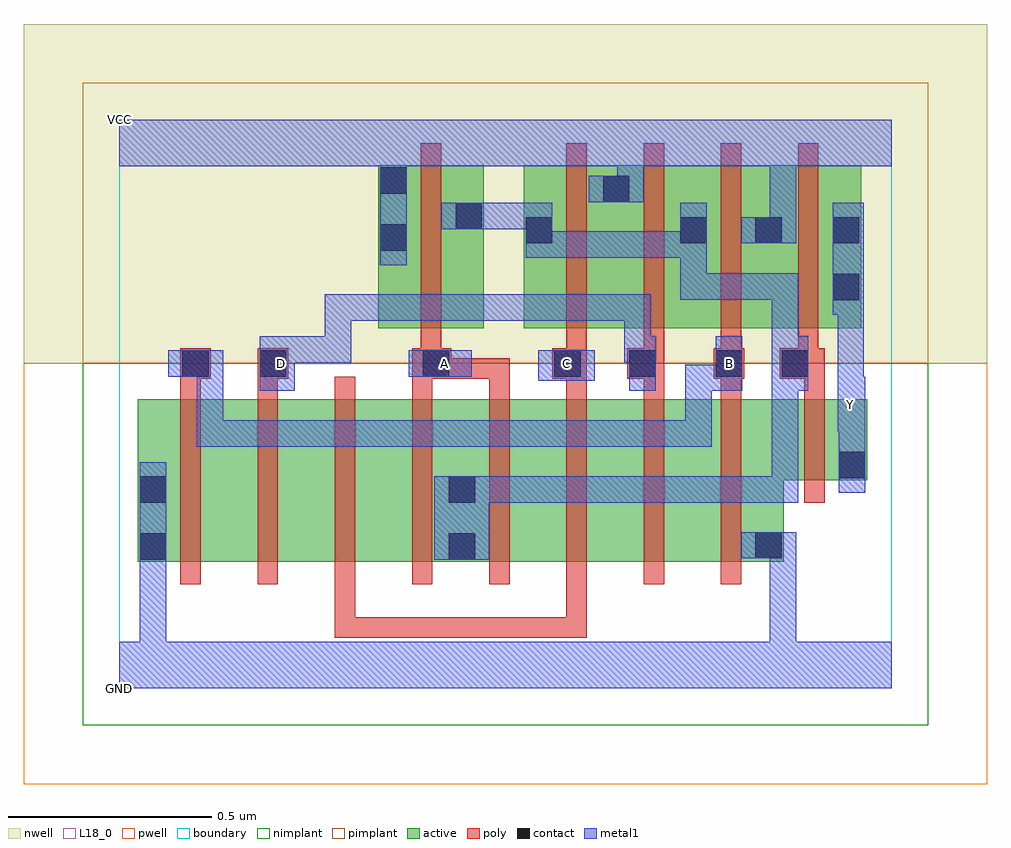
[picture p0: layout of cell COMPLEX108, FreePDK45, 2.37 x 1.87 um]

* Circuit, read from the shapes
.subckt COMPLEX108 A B C D GND VCC Y
M1 n1 B GND VSUBS nfet w=0.4u l=0.05u
M2 n2 D n1 VSUBS nfet w=0.4u l=0.05u
M3 n3 C n2 VSUBS nfet w=0.4u l=0.05u
M4 n4 A n3 VSUBS nfet w=0.4u l=0.05u
M5 n5 A n4 VSUBS nfet w=0.4u l=0.05u
M6 n6 C n5 VSUBS nfet w=0.4u l=0.05u
M7 n7 D n6 VSUBS nfet w=0.4u l=0.05u
M8 GND B n7 VSUBS nfet w=0.4u l=0.05u
M9 Y n4 GND VSUBS nfet w=0.2u l=0.05u
M10 n4 A VCC n8 pfet w=0.4u l=0.05u
M11 VCC C n4 n8 pfet w=0.4u l=0.05u
M12 n4 D VCC n8 pfet w=0.4u l=0.05u
M13 VCC B n4 n8 pfet w=0.4u l=0.05u
M14 Y n4 VCC n8 pfet w=0.4u l=0.05u
.ends

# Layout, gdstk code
import gdstk
lib = gdstk.Library(unit=1e-6, precision=1e-09)
def R(c, l, rs):  # rectangles x0, y0, x1, y1
    for r in rs: c.add(gdstk.rectangle(r[:2], r[2:], *l))
def A(c, l, x, y, w, h, nx, ny, dx, dy):  # array of equal rectangles
    R(c, l, [(x+i*dx, y+j*dy, x+i*dx+w, y+j*dy+h) for i in range(nx) for j in range(ny)])
active = (1, 0)
pwell = (2, 0)
nwell = (3, 0)
nimplant = (4, 0)
pimplant = (5, 0)
poly = (9, 0)
contact = (10, 0)
metal1 = (11, 0)
L18_0 = (18, 0)
boundary = (235, 0)

complex108 = lib.new_cell('COMPLEX108')
R(complex108, active, [(0.045,0.312,0.27,0.712), (0.045,0.312,0.12,0.712), (0.27,0.312,0.46,0.712), (0.46,0.312,0.65,0.712), (0.65,0.312,0.88,0.712), (0.805,0.312,1.03,0.712), (0.805,0.312,0.88,0.617), (1.03,0.312,1.22,0.712), (1.22,0.312,1.41,0.712), (1.41,0.312,1.635,0.712), (1.56,0.315,1.635,0.532), (1.56,0.512,1.84,0.712), (1.765,0.512,1.84,0.712), (0.637,0.887,0.712,1.287), (0.637,0.887,0.897,1.287), (0.822,0.887,0.897,1.2), (0.995,0.887,1.07,1.2), (0.995,0.887,1.26,1.287), (1.185,0.887,1.45,1.287), (1.375,0.887,1.635,1.287), (1.56,0.887,1.825,1.287), (1.75,0.887,1.825,1.2), (1.185,0.907,1.26,1.267), (1.375,0.907,1.45,1.2), (1.56,0.907,1.635,1.255)])
R(complex108, pwell, [(-0.235,-0.235,2.135,0.8)])
R(complex108, nwell, [(-0.235,0.8,2.135,1.635)])
R(complex108, nimplant, [(-0.09,-0.09,1.99,0.8)])
R(complex108, pimplant, [(-0.09,0.8,1.99,1.49)])
A(complex108, poly, 0.15, 0.257, 0.05, 0.51, 8, 1, 0.19, 0)
A(complex108, poly, 0.72, 0.717, 0.05, 0.095, 5, 1, 0.19, 0)
A(complex108, poly, 1.1, 0.787, 0.05, 0.095, 4, 1, 0.19, 0)
A(complex108, poly, 1.1, 0.832, 0.05, 0.51, 4, 1, 0.19, 0)
R(complex108, poly, [(0.53,0.125,0.58,0.307), (0.53,0.125,0.58,0.175), (0.53,0.125,0.58,0.175), (0.53,0.125,0.58,0.175), (0.53,0.125,0.817,0.175), (0.767,0.125,0.817,0.175), (0.767,0.125,0.817,0.175), (0.767,0.125,0.817,0.175), (0.767,0.125,0.95,0.175), (0.9,0.125,0.95,0.175), (0.9,0.125,1.15,0.175), (1.1,0.125,1.15,0.307), (1.1,0.125,1.15,0.175), (1.1,0.125,1.15,0.175), (1.1,0.125,1.15,0.175), (1.685,0.457,1.735,0.767), (0.15,0.717,0.2,0.812), (0.34,0.717,0.39,0.812), (1.685,0.717,1.735,0.812), (0.15,0.762,0.225,0.837), (0.34,0.762,0.415,0.837), (0.72,0.762,0.817,0.837), (0.767,0.762,0.96,0.812), (0.91,0.762,0.96,0.812), (0.91,0.762,0.96,0.812), (0.91,0.762,0.96,0.812), (1.065,0.762,1.15,0.837), (1.25,0.762,1.34,0.837), (1.462,0.762,1.537,0.837), (1.625,0.762,1.735,0.837), (0.742,0.787,0.792,0.882), (0.742,0.832,0.792,1.342)])
R(complex108, contact, [(0.05,0.317,0.115,0.382), (0.81,0.317,0.875,0.382), (1.565,0.32,1.63,0.385), (0.05,0.457,0.115,0.522), (0.81,0.457,0.875,0.522), (1.77,0.517,1.835,0.582), (0.155,0.767,0.22,0.832), (0.345,0.767,0.41,0.832), (0.747,0.767,0.812,0.832), (1.07,0.767,1.135,0.832), (1.255,0.767,1.32,0.832), (1.467,0.767,1.532,0.832), (1.63,0.767,1.695,0.832), (1.755,0.955,1.82,1.02), (0.642,1.077,0.707,1.142), (1,1.095,1.065,1.16), (1.38,1.095,1.445,1.16), (1.565,1.095,1.63,1.16), (1.755,1.095,1.82,1.16), (0.827,1.13,0.892,1.195), (1.19,1.197,1.255,1.262), (0.642,1.217,0.707,1.282)])
R(complex108, metal1, [(0,0,1.9,0.115), (0.05,0.05,0.115,0.115), (0.05,0.05,0.115,0.115), (0.05,0.05,0.115,0.115), (0.05,0.05,0.115,0.115), (0.05,0.05,0.115,0.347), (1.6,0.05,1.665,0.115), (1.6,0.05,1.665,0.115), (1.6,0.05,1.665,0.115), (1.6,0.05,1.665,0.115), (1.6,0.05,1.665,0.385), (0.05,0.282,0.115,0.557), (0.775,0.317,0.91,0.522), (1.53,0.32,1.665,0.385), (0.845,0.457,0.91,0.522), (0.845,0.457,0.91,0.522), (0.845,0.457,1.082,0.522), (1.017,0.457,1.082,0.522), (1.017,0.457,1.082,0.522), (1.017,0.457,1.082,0.522), (1.017,0.457,1.307,0.522), (1.242,0.457,1.307,0.522), (1.242,0.457,1.307,0.522), (1.242,0.457,1.307,0.522), (1.242,0.457,1.457,0.522), (1.392,0.457,1.457,0.522), (1.392,0.457,1.557,0.522), (1.492,0.457,1.557,0.522), (1.492,0.457,1.67,0.522), (1.605,0.457,1.67,0.522), (1.605,0.457,1.67,0.522), (1.605,0.457,1.67,0.522), (1.605,0.457,1.67,0.797), (1.77,0.482,1.835,0.617), (1.77,0.552,1.835,0.697), (0.19,0.595,0.255,0.66), (0.19,0.595,0.432,0.66), (0.19,0.595,0.255,0.832), (0.367,0.595,0.432,0.66), (0.367,0.595,0.432,0.66), (0.367,0.595,0.432,0.66), (0.367,0.595,0.57,0.66), (0.505,0.595,0.57,0.66), (0.505,0.595,0.57,0.66), (0.505,0.595,0.57,0.66), (0.505,0.595,0.707,0.66), (0.642,0.595,0.707,0.66), (0.642,0.595,0.845,0.66), (0.78,0.595,0.845,0.66), (0.78,0.595,0.845,0.66), (0.78,0.595,0.845,0.66), (0.78,0.595,1.082,0.66), (1.017,0.595,1.082,0.66), (1.017,0.595,1.082,0.66), (1.017,0.595,1.082,0.66), (1.017,0.595,1.307,0.66), (1.242,0.595,1.307,0.66), (1.242,0.595,1.307,0.66), (1.242,0.595,1.307,0.66), (1.242,0.595,1.457,0.66), (1.392,0.595,1.457,0.66), (1.392,0.595,1.457,0.797), (1.767,0.632,1.835,0.767), (1.767,0.702,1.832,0.985), (0.345,0.732,0.432,0.867), (1.255,0.732,1.32,0.867), (1.392,0.732,1.457,0.797), (1.392,0.732,1.532,0.797), (1.467,0.732,1.532,0.867), (1.605,0.732,1.695,0.797), (1.605,0.732,1.67,1.022), (1.605,0.732,1.67,0.797), (1.63,0.732,1.695,0.867), (1.03,0.757,1.17,0.832), (0.12,0.767,0.255,0.832), (0.19,0.767,0.255,0.832), (0.19,0.767,0.255,0.832), (0.712,0.767,0.867,0.832), (0.367,0.802,0.432,0.867), (0.367,0.802,0.432,0.867), (0.367,0.802,0.57,0.867), (0.505,0.802,0.57,0.867), (0.505,0.802,0.57,0.867), (0.505,0.802,0.57,0.867), (0.505,0.802,0.57,0.97), (1.242,0.802,1.307,0.867), (1.242,0.802,1.307,0.97), (1.242,0.802,1.32,0.867), (0.505,0.905,0.57,0.97), (0.505,0.905,0.707,0.97), (0.642,0.905,0.707,0.97), (0.642,0.905,0.707,0.97), (0.642,0.905,0.707,0.97), (0.642,0.905,0.927,0.97), (0.862,0.905,0.927,0.97), (0.862,0.905,1.082,0.97), (1.017,0.905,1.082,0.97), (1.017,0.905,1.082,0.97), (1.017,0.905,1.082,0.97), (1.017,0.905,1.307,0.97), (1.242,0.905,1.307,0.97), (1.755,0.92,1.832,1.195), (1.38,0.957,1.445,1.022), (1.38,0.957,1.457,1.022), (1.38,0.957,1.445,1.125), (1.392,0.957,1.67,1.022), (1.392,0.957,1.457,1.022), (1.605,0.957,1.67,1.022), (0.642,1.042,0.707,1.317), (1,1.06,1.065,1.195), (1,1.06,1.065,1.125), (1,1.06,1.065,1.125), (1,1.06,1.22,1.125), (1.155,1.06,1.22,1.125), (1.155,1.06,1.307,1.125), (1.242,1.06,1.307,1.125), (1.242,1.06,1.445,1.125), (1.38,1.06,1.445,1.195), (1.53,1.095,1.665,1.16), (1.6,1.095,1.665,1.35), (0.792,1.13,0.927,1.195), (0.862,1.13,0.927,1.195), (0.862,1.13,0.927,1.195), (0.862,1.13,1.065,1.195), (1.155,1.197,1.29,1.262), (1.225,1.197,1.29,1.35), (0.642,1.252,0.707,1.35), (0,1.285,1.9,1.4)])
R(complex108, L18_0, [(0,0,1.9,0.115), (0.05,0.05,0.115,0.115), (0.05,0.05,0.115,0.115), (0.05,0.05,0.115,0.115), (0.05,0.05,0.115,0.115), (0.05,0.05,0.115,0.347), (1.6,0.05,1.665,0.115), (1.6,0.05,1.665,0.115), (1.6,0.05,1.665,0.115), (1.6,0.05,1.665,0.115), (1.6,0.05,1.665,0.385), (0.05,0.282,0.115,0.557), (1.53,0.32,1.665,0.385), (1.77,0.482,1.835,0.617), (1.77,0.552,1.835,0.697), (0.19,0.595,0.255,0.66), (0.19,0.595,0.255,0.832), (0.19,0.595,0.432,0.66), (0.367,0.595,0.432,0.66), (0.367,0.595,0.432,0.66), (0.367,0.595,0.432,0.66), (0.367,0.595,0.57,0.66), (0.505,0.595,0.57,0.66), (0.505,0.595,0.57,0.66), (0.505,0.595,0.57,0.66), (0.505,0.595,0.707,0.66), (0.642,0.595,0.707,0.66), (0.642,0.595,0.845,0.66), (0.78,0.595,0.845,0.66), (0.78,0.595,0.845,0.66), (0.78,0.595,0.845,0.66), (0.78,0.595,1.082,0.66), (1.017,0.595,1.082,0.66), (1.017,0.595,1.082,0.66), (1.017,0.595,1.082,0.66), (1.017,0.595,1.307,0.66), (1.242,0.595,1.307,0.66), (1.242,0.595,1.307,0.66), (1.242,0.595,1.307,0.66), (1.242,0.595,1.457,0.66), (1.392,0.595,1.457,0.66), (1.392,0.595,1.457,0.797), (1.767,0.632,1.835,0.767), (1.767,0.667,1.832,0.732), (1.767,0.702,1.832,0.985), (0.345,0.732,0.432,0.867), (1.255,0.732,1.32,0.867), (1.392,0.732,1.457,0.797), (1.392,0.732,1.532,0.797), (1.467,0.732,1.532,0.867), (1.03,0.757,1.17,0.832), (0.12,0.767,0.255,0.832), (0.19,0.767,0.255,0.832), (0.19,0.767,0.255,0.832), (0.367,0.767,0.432,0.832), (0.712,0.767,0.867,0.832), (0.767,0.767,0.832,0.832), (1.067,0.767,1.132,0.832), (1.467,0.767,1.532,0.832), (0.367,0.802,0.432,0.867), (0.367,0.802,0.432,0.867), (0.367,0.802,0.57,0.867), (0.505,0.802,0.57,0.867), (0.505,0.802,0.57,0.867), (0.505,0.802,0.57,0.867), (0.505,0.802,0.57,0.97), (1.242,0.802,1.307,0.867), (1.242,0.802,1.307,0.97), (1.242,0.802,1.32,0.867), (0.505,0.905,0.57,0.97), (0.505,0.905,0.707,0.97), (0.642,0.905,0.707,0.97), (0.642,0.905,0.707,0.97), (0.642,0.905,0.707,0.97), (0.642,0.905,0.927,0.97), (0.862,0.905,0.927,0.97), (0.862,0.905,1.082,0.97), (1.017,0.905,1.082,0.97), (1.017,0.905,1.082,0.97), (1.017,0.905,1.082,0.97), (1.017,0.905,1.307,0.97), (1.242,0.905,1.307,0.97), (1.755,0.92,1.832,1.195), (0.642,1.042,0.707,1.317), (1.53,1.095,1.665,1.16), (1.6,1.095,1.665,1.35), (1.155,1.197,1.29,1.262), (1.225,1.197,1.29,1.35), (0.642,1.252,0.707,1.35), (0,1.285,1.9,1.4)])
R(complex108, boundary, [(0,0,1.9,1.4)])
complex108.add(gdstk.Label('A', (0.8,0.8), layer=11, texttype=0))
complex108.add(gdstk.Label('B', (1.5,0.8), layer=11, texttype=0))
complex108.add(gdstk.Label('C', (1.1,0.8), layer=11, texttype=0))
complex108.add(gdstk.Label('D', (0.4,0.8), layer=11, texttype=0))
complex108.add(gdstk.Label('Y', (1.8,0.7), layer=11, texttype=0))
complex108.add(gdstk.Label('VCC', (0,1.4), layer=11, texttype=0))
complex108.add(gdstk.Label('GND', (0,0), layer=11, texttype=0))

lib.write_gds('COMPLEX108.gds')
